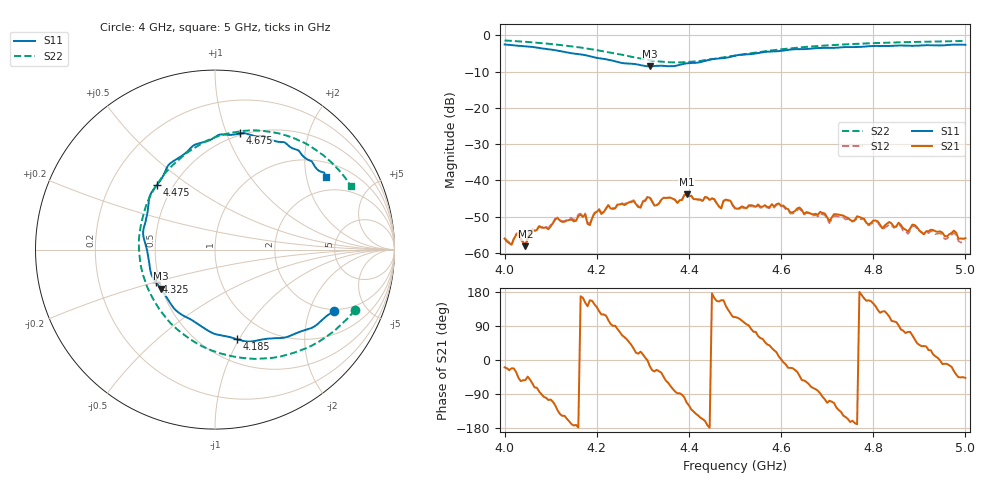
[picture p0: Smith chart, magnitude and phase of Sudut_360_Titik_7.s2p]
# Hz S RI R 50
! CMT, C1220, 16058040, 17.2.0/1
! Date: 15/08/2018 12:06:35
! Data: Format (Calibration Info)
! Freq  S11: Re/Im (F2)  S21: Re/Im (F2)  S12: Re/Im (F2)  S22: Re/Im (F2)
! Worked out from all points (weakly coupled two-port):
!   201 points, 4 GHz to 5 GHz, reference 50 ohm
!   highest |S21| = -43.83 dB at 4.395 GHz (marker M1); lowest = -58.2 dB at 4.045 GHz (marker M2)
!   lowest |S11| = -8.6 dB at 4.315 GHz (marker M3), VSWR 2.19, Z = 24.7 - j12.5 ohm
!   |S11| at or under -10 dB: nowhere
!   |S22| runs from -7.5 to -1.4 dB; largest |S21 - S12| = 0.00025
!   S11 on the Smith chart (normalised r, x): 4 GHz: 1.94, -2.99; 4.185 GHz: 0.72, -0.98; 4.325 GHz: 0.48, -0.20; 4.475 GHz: 0.41, +0.39; 4.675 GHz: 0.48, +1.12; 5 GHz: 1.46, +2.61
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4e9  0.6651 -0.3402  0.00148 -0.000526  0.00155 -0.000458  0.7781 -0.3371
4.015e9  0.6372 -0.3592  0.0012 -0.000485  0.00119 -0.000473  0.7504 -0.3707
4.03e9  0.6034 -0.3857  0.00128 -0.00137  0.00136 -0.00136  0.7198 -0.4015
4.045e9  0.5694 -0.4169  0.000742 -0.000989  0.000782 -0.00103  0.687 -0.4331
4.055e9  0.5468 -0.4322  0.00121 -0.00152  0.00125 -0.00152  0.6642 -0.4527
4.075e9  0.494 -0.4506  0.000277 -0.0023  0.000364 -0.00231  0.6114 -0.4908
4.17e9  0.1706 -0.5113  -0.00301 0.000867  -0.00312 0.000956  0.2849 -0.6057
4.185e9  0.1222 -0.4993  -0.00223 0.000922  -0.0023 0.000969  0.2217 -0.609
4.225e9  -0.0253 -0.4594  -0.00118 0.00438  -0.00123 0.00439  0.0466 -0.5828
4.295e9  -0.2513 -0.2951  0.0039 0.00158  0.004 0.00156  -0.2473 -0.4105
4.315e9  -0.3024 -0.2176  0.00555 -0.00159  0.00568 -0.00174  -0.3104 -0.3317
4.325e9  -0.3298 -0.182  0.00387 -0.00226  0.00391 -0.00237  -0.3368 -0.288
4.335e9  -0.3498 -0.1485  0.00415 -0.00238  0.00416 -0.00243  -0.3616 -0.2426
4.395e9  -0.4005 0.0867  -0.00243 -0.00596  -0.00254 -0.00591  -0.4239 0.0544
4.47e9  -0.3345 0.3455  -0.0038 0.00156  -0.00374 0.00166  -0.3165 0.3734
4.475e9  -0.3218 0.3617  -0.00483 0.00198  -0.00472 0.00211  -0.3048 0.3897
4.5e9  -0.2722 0.447  -0.00163 0.00381  -0.00154 0.00378  -0.2411 0.4656
4.595e9  -0.0499 0.6021  0.00474 0.000773  0.00466 0.000744  0.0265 0.6354
4.67e9  0.1316 0.6453  0.000928 -0.00326  0.000863 -0.00315  0.2337 0.6639
4.675e9  0.1417 0.6475  0.000772 -0.00337  0.000712 -0.00323  0.2467 0.6633
4.835e9  0.4345 0.5632  -0.0011 0.00243  -0.00105 0.00225  0.57 0.5496
5e9  0.6175 0.4058  0.00108 -0.00117  0.00103 -0.00108  0.7562 0.3547
